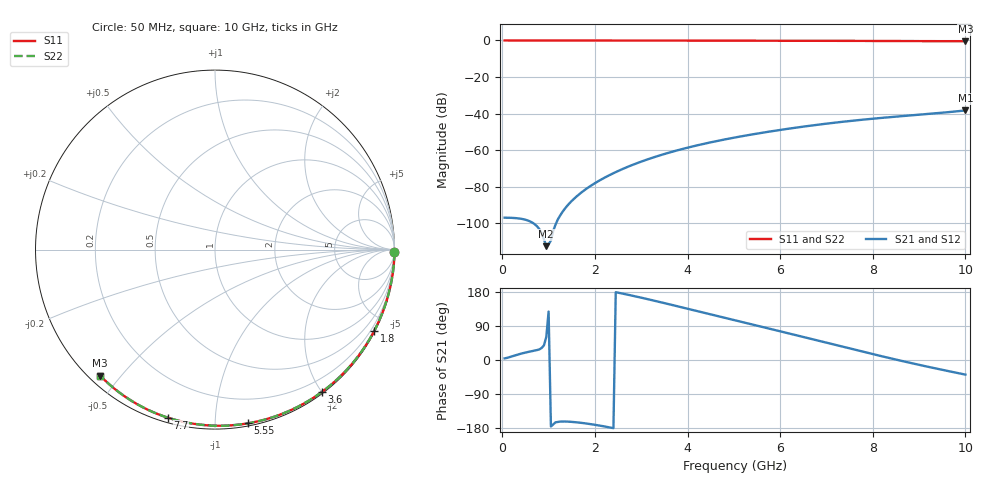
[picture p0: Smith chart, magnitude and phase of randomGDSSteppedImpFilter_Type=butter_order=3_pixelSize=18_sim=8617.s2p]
! freq	dB(S11)	phase(S11)	dB(S12)	phase(S12)
!  dB(S21)	phase(S21)	dB(S22)	phase(S22)
!S-par simulation data
#  GHz  S  DB  R 50
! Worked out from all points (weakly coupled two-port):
!   200 points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, 50 MHz to 10 GHz, reference 50 ohm
!   highest |S21| = -38.31 dB at 10 GHz (marker M1); lowest = -112.6 dB at 950 MHz (marker M2)
!   lowest |S11| = -0.4 dB at 10 GHz (marker M3), VSWR 39.03, Z = 1.53 - j22.1 ohm
!   |S11| at or under -10 dB: nowhere
!   |S22| runs from -0.4 to 0.0 dB; largest |S21 - S12| = 0
!   S11 on the Smith chart (normalised r, x): 50 MHz: open; 1.8 GHz: 0.04, -4.15; 3.6 GHz: 0.02, -2.00; 5.55 GHz: 0.02, -1.21; 7.7 GHz: 0.02, -0.76; 10 GHz: 0.03, -0.44
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0.05  -0.00 -0.8  -96.99 4.3  -96.99 4.3  -0.00 -0.8
0.5  -0.01 -7.6  -98.12 19.6  -98.12 19.6  -0.01 -7.6
0.95  -0.02 -14.4  -112.58 60.9  -112.58 60.9  -0.02 -14.4
1.75  -0.03 -26.4  -82.38 -166.5  -82.38 -166.5  -0.03 -26.4
1.8  -0.03 -27.1  -81.45 -167.3  -81.45 -167.3  -0.03 -27.1
1.85  -0.04 -27.9  -80.57 -168.2  -80.57 -168.2  -0.04 -27.8
1.9  -0.04 -28.6  -79.72 -169.1  -79.72 -169.1  -0.04 -28.6
2.05  -0.04 -30.8  -77.35 -172.0  -77.35 -172.0  -0.04 -30.8
2.25  -0.04 -33.7  -74.54 -176.3  -74.54 -176.3  -0.04 -33.7
2.65  -0.05 -39.5  -69.78 173.9  -69.78 173.9  -0.05 -39.5
3  -0.06 -44.5  -66.30 164.5  -66.30 164.5  -0.06 -44.5
3.4  -0.07 -50.2  -62.90 153.1  -62.90 153.1  -0.07 -50.2
3.6  -0.07 -53.0  -61.39 147.2  -61.39 147.2  -0.07 -53.0
4.3  -0.09 -62.6  -56.87 126.3  -56.87 126.3  -0.09 -62.6
5.05  -0.11 -72.7  -52.98 104.0  -52.98 104.0  -0.11 -72.7
5.55  -0.13 -79.2  -50.77 89.1  -50.77 89.1  -0.13 -79.2
6.1  -0.15 -86.2  -48.59 72.8  -48.59 72.8  -0.15 -86.2
6.7  -0.18 -93.6  -46.49 54.8  -46.49 54.8  -0.18 -93.6
7.7  -0.24 -105.7  -43.57 24.6  -43.57 24.6  -0.24 -105.7
8.35  -0.29 -113.4  -42.02 5.4  -42.02 5.4  -0.29 -113.4
9.15  -0.36 -122.6  -40.31 -16.8  -40.31 -16.8  -0.36 -122.6
10  -0.45 -132.3  -38.31 -38.5  -38.31 -38.5  -0.45 -132.3
